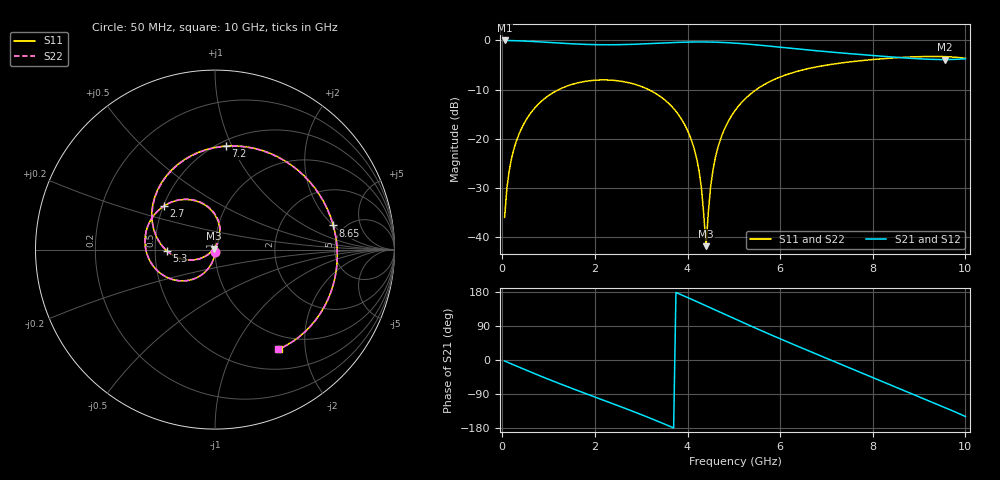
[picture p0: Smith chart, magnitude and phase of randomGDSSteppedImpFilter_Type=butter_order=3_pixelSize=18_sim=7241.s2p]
! freq	dB(S11)	phase(S11)	dB(S12)	phase(S12)
!  dB(S21)	phase(S21)	dB(S22)	phase(S22)
!S-par simulation data
#  GHz  S  DB  R 50
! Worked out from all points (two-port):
!   200 points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, 50 MHz to 10 GHz, reference 50 ohm
!   highest |S21| = 0.00 dB at 50 MHz (marker M1); lowest = -3.9 dB at 9.55 GHz (marker M2)
!   |S21| within 3 dB of the highest: start of sweep to 7.917 GHz
!   lowest |S11| = -41.8 dB at 4.4 GHz (marker M3), VSWR 1.02, Z = 49.3 + j0.441 ohm
!   |S11| at or under -10 dB: start of sweep to 1.218 GHz; 3.162 GHz to 5.485 GHz (2.323 GHz wide, 53.7 % of centre)
!   |S22| runs from -44.6 to -3.2 dB; largest |S21 - S12| = 0
!   S11 on the Smith chart (normalised r, x): 50 MHz: 1.00, -0.03; 2.7 GHz: 0.50, +0.28; 5.3 GHz: 0.58, -0.01; 7.2 GHz: 0.55, +0.95; 8.65 GHz: 4.08, +2.00; 10 GHz: 0.78, -1.53
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0.05  -35.97 -92.6  -0.00 -2.7  -0.00 -2.7  -35.97 -92.6
0.2  -23.99 -100.9  -0.03 -10.5  -0.03 -10.5  -23.99 -100.9
0.5  -16.39 -116.5  -0.14 -25.9  -0.14 -25.9  -16.39 -116.6
1.1  -10.60 -146.3  -0.46 -55.8  -0.46 -55.8  -10.60 -146.4
1.75  -8.39 -176.8  -0.79 -86.3  -0.79 -86.3  -8.39 -177.0
2.7  -8.53 140.0  -0.82 -129.8  -0.82 -129.8  -8.53 139.5
3.4  -11.31 106.7  -0.55 -163.8  -0.55 -163.8  -11.31 106.0
3.85  -15.72 84.7  -0.37 172.9  -0.37 172.9  -15.73 83.6
4.15  -22.24 71.8  -0.31 156.8  -0.31 156.8  -22.26 69.7
4.3  -29.96 72.3  -0.30 148.6  -0.30 148.6  -30.08 67.8
4.4  -41.82 146.5  -0.31 143.0  -0.31 143.0  -44.59 147.5
4.5  -29.62 -147.3  -0.33 137.5  -0.33 137.5  -29.76 -143.9
4.6  -23.86 -145.9  -0.35 132.0  -0.35 132.0  -23.90 -144.4
5.05  -13.95 -165.7  -0.56 107.0  -0.56 107.0  -13.95 -165.7
5.3  -11.38 -178.7  -0.75 93.3  -0.75 93.3  -11.39 -178.9
6.05  -7.25 142.3  -1.43 53.3  -1.43 53.3  -7.25 141.7
6.7  -5.54 109.2  -2.03 19.8  -2.03 19.8  -5.54 108.4
7.2  -4.73 84.0  -2.45 -5.6  -2.45 -5.6  -4.73 83.1
8.35  -3.62 26.5  -3.32 -63.9  -3.32 -63.9  -3.62 25.6
8.65  -3.44 11.5  -3.53 -79.1  -3.53 -79.1  -3.44 10.7
9.55  -3.29 -33.7  -3.88 -124.9  -3.88 -124.9  -3.28 -34.2
10  -3.64 -57.4  -3.73 -149.1  -3.73 -149.1  -3.63 -57.5
